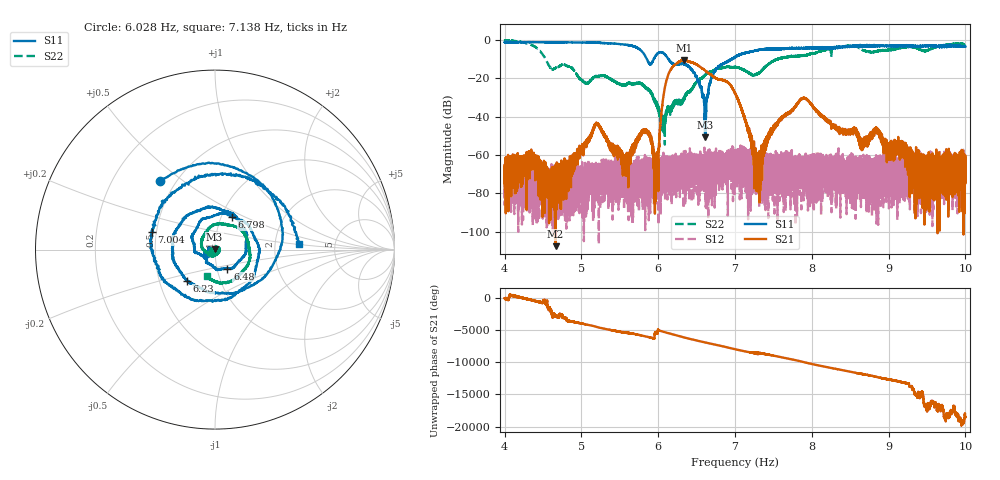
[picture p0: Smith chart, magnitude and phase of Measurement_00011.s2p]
!Created with skrf (http://scikit-rf.org).
# Hz S RI R 50.0
!freq ReS11 ImS11 ReS21 ImS21 ReS12 ImS12 ReS22 ImS22
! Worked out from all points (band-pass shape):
!   14001 points, 4 Hz to 10 Hz, reference 50 ohm
!   highest |S21| = -10.50 dB at 6.338 Hz (marker M1); lowest = -107.5 dB at 4.664 Hz (marker M2)
!   |S21| within 3 dB of the highest: 6.2 Hz to 6.528 Hz (327.8 mHz wide, 5.15 % of centre); 6.528195 Hz to 6.529647 Hz (1.452 mHz wide, 0.0222 % of centre)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
!   lowest |S11| = -50.7 dB at 6.612 Hz (marker M3), VSWR 1.01, Z = 49.8 + j0.206 ohm
!   |S11| at or under -10 dB: 5.854 Hz to 5.94 Hz (86.55 mHz wide, 1.47 % of centre); 5.940405 Hz to 5.941072 Hz (667 uHz wide, 0.0112 % of centre); 6.135 Hz to 6.954 Hz (818.7 mHz wide, 12.5 % of centre)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
!   |S22| runs from -54.5 to -0.2 dB; largest |S21 - S12| = 0.3
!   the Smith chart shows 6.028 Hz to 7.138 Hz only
!   S11 on the Smith chart (normalised r, x): 6.028 Hz: 0.41, +0.41; 6.23 Hz: 0.69, -0.25; 6.48 Hz: 1.12, -0.24; 6.798 Hz: 1.12, +0.42; 7.004 Hz: 0.47, +0.11; 7.138 Hz: 2.74, +0.23
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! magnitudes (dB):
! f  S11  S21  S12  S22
! 4 Hz  -1.1  -71.0  -82.9  -0.2
! 4.664 Hz  -1.1  -107.5  -68.7  -14.5
! 5 Hz  -1.2  -57.8  -85.0  -20.6
! 5.204 Hz  -1.4  -43.7  -65.4  -18.9
! 5.566 Hz  -2.3  -62.0  -82.3  -23.3
! 5.818 Hz  -7.4  -46.7  -65.1  -24.1
! 6 Hz  -6.7  -73.6  -69.7  -34.4
! 6.028 Hz  -6.2  -44.0  -72.4  -38.6
! 6.103 Hz  -8.2  -21.8  -70.9  -38.4
! 6.23 Hz  -12.6  -12.4  -75.5  -32.8
! 6.338 Hz  -12.4  -10.5  -66.5  -30.7
! 6.48 Hz  -18.0  -12.4  -67.4  -22.8
! 6.612 Hz  -50.7  -15.9  -76.6  -18.3
! 6.798 Hz  -13.8  -20.6  -65.7  -14.5
! 7 Hz  -8.9  -27.6  -62.9  -14.0
! 7.004 Hz  -8.7  -27.8  -63.3  -14.2
! 7.138 Hz  -6.6  -42.5  -79.2  -16.2
! 7.3 Hz  -5.2  -64.1  -64.3  -17.6
! 7.595 Hz  -4.6  -41.2  -72.1  -9.3
! 8 Hz  -4.2  -33.8  -73.1  -6.9
! 9 Hz  -3.1  -58.8  -70.2  -5.0
! 10 Hz  -3.4  -69.1  -68.2  -3.1
